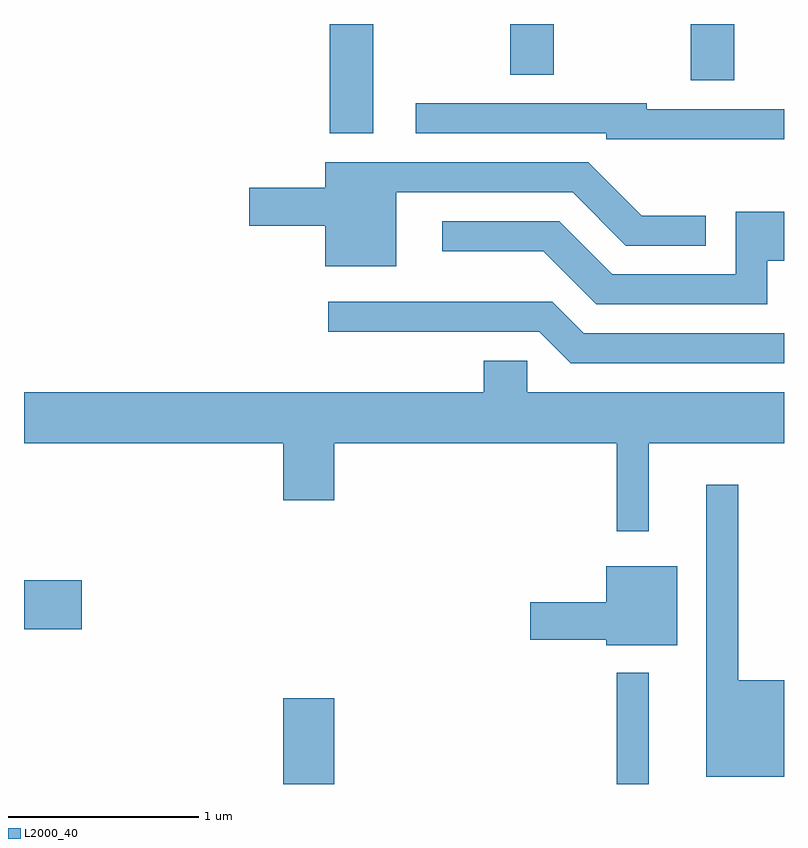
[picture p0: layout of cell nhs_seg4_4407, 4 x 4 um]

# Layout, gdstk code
import gdstk
lib = gdstk.Library(unit=1e-6, precision=1e-09)
def R(c, l, rs):  # rectangles x0, y0, x1, y1
    for r in rs: c.add(gdstk.rectangle(r[:2], r[2:], *l))
def P(c, l, *ps):  # polygons
    for p in ps: c.add(gdstk.Polygon(p, *l))
L2000_40 = (2000, 40)

nhs_seg4_4407 = lib.new_cell('nhs_seg4_4407')
R(nhs_seg4_4407, L2000_40, [(314.976,1363.982,315.244,1364.434), (316.731,1363.982,316.899,1364.568), (313.611,1364.796,313.914,1365.054), (315.221,1367.406,315.449,1367.982), (317.121,1367.686,317.349,1367.982), (316.171,1367.716,316.399,1367.982)])
P(nhs_seg4_4407, L2000_40, [(317.611,1367.534),(316.889,1367.534),(316.889,1367.564),(315.673,1367.564),(315.673,1367.406),(316.676,1367.406),(316.676,1367.376),(317.611,1367.376)],
  [(315.569,1367.096),(316.499,1367.096),(316.779,1366.816),(317.198,1366.816),(317.198,1366.974),(316.862,1366.974),(316.582,1367.254),(315.196,1367.254),(315.196,1367.119),(314.796,1367.119),(314.796,1366.921),(315.196,1366.921),(315.196,1366.706),(315.569,1366.706)],
  [(317.524,1366.736),(317.611,1366.736),(317.611,1366.994),(317.356,1366.994),(317.356,1366.664),(316.707,1366.664),(316.427,1366.944),(315.813,1366.944),(315.813,1366.786),(316.344,1366.786),(316.624,1366.506),(317.524,1366.506)],
  [(317.611,1366.354),(316.557,1366.354),(316.392,1366.519),(315.213,1366.519),(315.213,1366.361),(316.324,1366.361),(316.489,1366.196),(317.611,1366.196)],
  [(316.899,1365.776),(317.611,1365.776),(317.611,1366.044),(316.259,1366.044),(316.259,1366.209),(316.031,1366.209),(316.031,1366.044),(313.611,1366.044),(313.611,1365.776),(314.976,1365.776),(314.976,1365.476),(315.244,1365.476),(315.244,1365.776),(316.731,1365.776),(316.731,1365.313),(316.899,1365.313)],
  [(317.611,1364.529),(317.369,1364.529),(317.369,1365.558),(317.201,1365.558),(317.201,1364.021),(317.611,1364.021)],
  [(317.049,1365.129),(316.676,1365.129),(316.676,1364.939),(316.276,1364.939),(316.276,1364.741),(316.676,1364.741),(316.676,1364.711),(317.049,1364.711)])

lib.write_gds('nhs_seg4_4407.gds')
